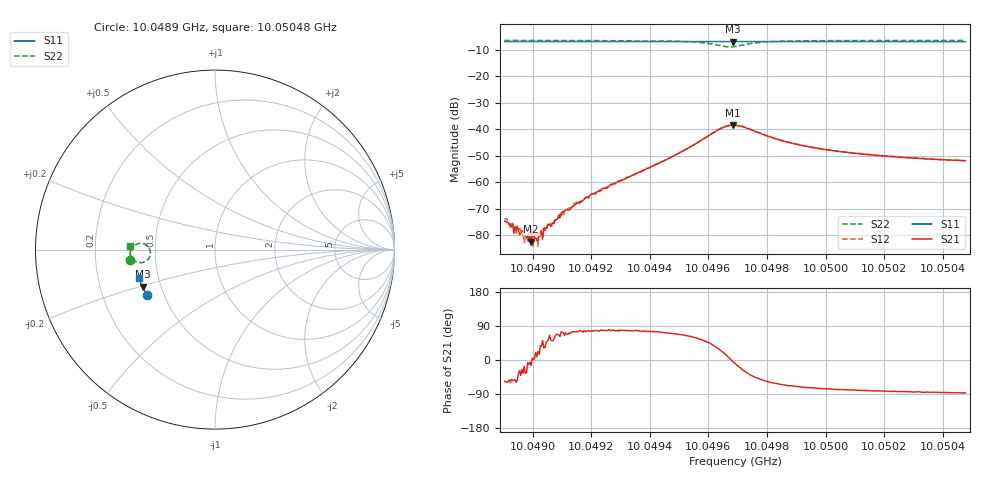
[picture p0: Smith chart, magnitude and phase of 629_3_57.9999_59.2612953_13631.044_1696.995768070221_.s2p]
#  HZ  S  RI  R  50.00
! Rohde & Schwarz Vector Network Analyzer
! Rohde-Schwarz,ZNB20-2Port,1311601062101988,3.16
! Created: UTC 3/21/2024, 1:18:28 AM
! freq[Hz]  re:S11  im:S11  re:S21  im:S21  re:S12  im:S12  re:S22  im:S22
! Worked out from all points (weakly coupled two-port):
!   401 points, 10.0489 GHz to 10.05048 GHz, reference 50 ohm
!   highest |S21| = -38.37 dB at 10.04968 GHz (marker M1); lowest = -82.3 dB at 10.049 GHz (marker M2)
!   lowest |S11| = -6.9 dB at 10.04968 GHz (marker M3), VSWR 2.65, Z = 19.8 - j10.2 ohm
!   |S11| at or under -10 dB: nowhere
!   |S22| runs from -8.9 to -6.4 dB; largest |S21 - S12| = 0.001
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1.0048905e10  -0.3797 -0.2509  0.000104 -0.000156  0.000112 -0.000176  -0.4727 -0.0567
1.0048944e10  -0.3811 -0.2487  6.63e-05 -0.00011  6.91e-05 -7.68e-05  -0.4728 -0.0535
1.0048956e10  -0.3816 -0.248  9.13e-05 -4.85e-05  0.000108 -8.96e-05  -0.473 -0.0525
1.0048979e10  -0.3824 -0.2467  7.69e-05 -5.17e-05  9.55e-05 -2.17e-05  -0.473 -0.0506
1.0048995e10  -0.3829 -0.2458  7.39e-05 -2e-05  0.000115 4.12e-06  -0.4731 -0.0492
1.0049015e10  -0.3836 -0.2446  7.93e-05 1.2e-05  9.57e-05 5.9e-05  -0.4731 -0.0476
1.0049026e10  -0.384 -0.244  8.87e-05 6.75e-05  7.55e-05 6.12e-05  -0.4731 -0.0467
1.004905e10  -0.3848 -0.2427  9.31e-05 0.000112  0.000103 0.000116  -0.4731 -0.0446
1.004907e10  -0.3855 -0.2415  0.000109 0.000136  5.43e-05 0.000144  -0.4732 -0.043
1.0049105e10  -0.3867 -0.2394  8.54e-05 0.000265  5.65e-05 0.000221  -0.4731 -0.0397
1.0049117e10  -0.387 -0.2387  0.000112 0.000289  0.000115 0.000295  -0.4731 -0.0385
1.0049168e10  -0.3886 -0.236  0.000112 0.000419  8.01e-05 0.000441  -0.4729 -0.0336
1.0049207e10  -0.39 -0.2335  0.000144 0.000596  0.000105 0.000603  -0.4726 -0.0297
1.0049431e10  -0.397 -0.2205  0.000627 0.00222  0.000505 0.00223  -0.4659 -3.21e-05
1.0049612e10  -0.4019 -0.2094  0.00631 0.00545  0.00593 0.00586  -0.4068 0.0349
1.0049655e10  -0.4025 -0.207  0.0107 0.00316  0.0105 0.00388  -0.3679 0.00922
1.0049683e10  -0.4029 -0.2057  0.012 -0.000844  0.012 -4.82e-05  -0.3606 -0.0278
1.0049691e10  -0.4033 -0.2055  0.0118 -0.00188  0.012 -0.00112  -0.3636 -0.0386
1.0049789e10  -0.4066 -0.2002  0.00463 -0.00641  0.00507 -0.00614  -0.4394 -0.0669
1.0049954e10  -0.4115 -0.1902  0.0013 -0.00437  0.00155 -0.0043  -0.4693 -0.0314
1.0050218e10  -0.4181 -0.1742  0.000398 -0.00306  0.000566 -0.00305  -0.4749 -4.22e-05
1.0050477e10  -0.4239 -0.1582  0.000147 -0.00257  0.000306 -0.00258  -0.4752 0.0222
